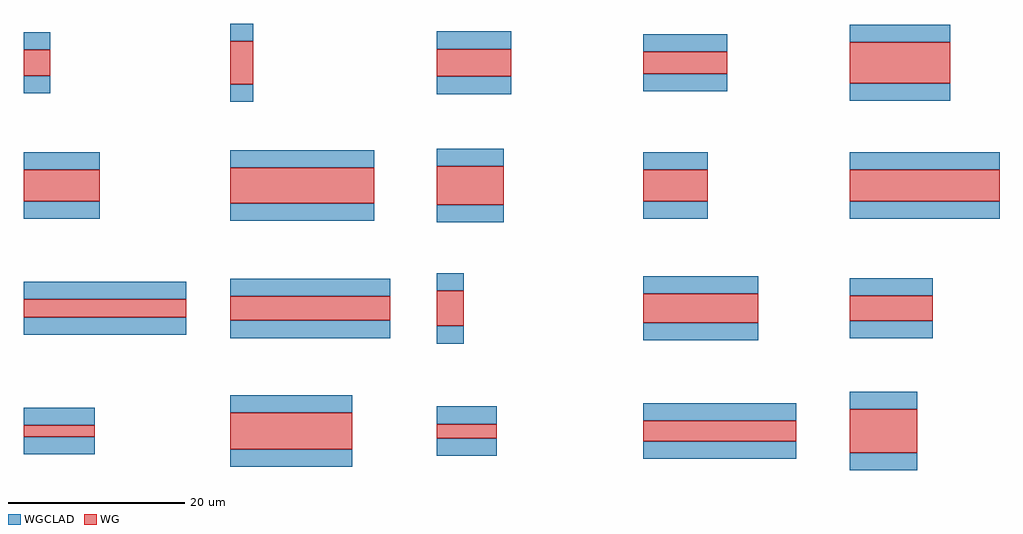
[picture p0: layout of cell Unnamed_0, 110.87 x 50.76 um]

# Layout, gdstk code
import gdstk
lib = gdstk.Library(unit=1e-6, precision=1e-09)
def R(c, l, rs):  # rectangles x0, y0, x1, y1
    for r in rs: c.add(gdstk.rectangle(r[:2], r[2:], *l))
WG = (1, 0)
WGCLAD = (111, 0)

straight_cssym_f7fe636c_ = lib.new_cell('straight_CSsym_f7fe636c_3540_L16989')
R(straight_cssym_f7fe636c_, WG, [(0,-1.77,16.989,1.77)])
R(straight_cssym_f7fe636c_, WGCLAD, [(0,-3.77,16.989,-1.77), (0,1.77,16.989,3.77)])

c_straight_cssym_f7fe636c_ = lib.new_cell('straight_CSsym_f7fe636c_3602_L7344')
R(c_straight_cssym_f7fe636c_, WG, [(0,-1.801,7.344,1.801)])
R(c_straight_cssym_f7fe636c_, WGCLAD, [(0,-3.801,7.344,-1.801), (0,1.801,7.344,3.801)])

c_straight_cssym_f7fe636c__ = lib.new_cell('straight_CSsym_f7fe636c_1302_L8120')
R(c_straight_cssym_f7fe636c__, WG, [(0,-0.651,8.12,0.651)])
R(c_straight_cssym_f7fe636c__, WGCLAD, [(0,-2.651,8.12,-0.651), (0,0.651,8.12,2.651)])

c_straight_cssym_f7fe636c___ = lib.new_cell('straight_CSsym_f7fe636c_4124_L13892')
R(c_straight_cssym_f7fe636c___, WG, [(0,-2.062,13.892,2.062)])
R(c_straight_cssym_f7fe636c___, WGCLAD, [(0,-4.062,13.892,-2.062), (0,2.062,13.892,4.062)])

c_straight_cssym_f7fe636c____ = lib.new_cell('straight_CSsym_f7fe636c_1602_L6846')
R(c_straight_cssym_f7fe636c____, WG, [(0,-0.801,6.846,0.801)])
R(c_straight_cssym_f7fe636c____, WGCLAD, [(0,-2.801,6.846,-0.801), (0,0.801,6.846,2.801)])

c_straight_cssym_f7fe636c_____ = lib.new_cell('straight_CSsym_f7fe636c_2300_L17367')
R(c_straight_cssym_f7fe636c_____, WG, [(0,-1.15,17.367,1.15)])
R(c_straight_cssym_f7fe636c_____, WGCLAD, [(0,-3.15,17.367,-1.15), (0,1.15,17.367,3.15)])

c_straight_cssym_f7fe636c______ = lib.new_cell('straight_CSsym_f7fe636c_4946_L7655')
R(c_straight_cssym_f7fe636c______, WG, [(0,-2.473,7.655,2.473)])
R(c_straight_cssym_f7fe636c______, WGCLAD, [(0,-4.473,7.655,-2.473), (0,2.473,7.655,4.473)])

c_straight_cssym_f7fe636c_______ = lib.new_cell('straight_CSsym_f7fe636c_2060_L18470')
R(c_straight_cssym_f7fe636c_______, WG, [(0,-1.03,18.47,1.03)])
R(c_straight_cssym_f7fe636c_______, WGCLAD, [(0,-3.03,18.47,-1.03), (0,1.03,18.47,3.03)])

c_straight_cssym_f7fe636c________ = lib.new_cell('straight_CSsym_f7fe636c_2958_L3066')
R(c_straight_cssym_f7fe636c________, WG, [(0,-1.479,3.066,1.479)])
R(c_straight_cssym_f7fe636c________, WGCLAD, [(0,-3.479,3.066,-1.479), (0,1.479,3.066,3.479)])

c_straight_cssym_f7fe636c_________ = lib.new_cell('straight_CSsym_f7fe636c_2754_L18202')
R(c_straight_cssym_f7fe636c_________, WG, [(0,-1.377,18.202,1.377)])
R(c_straight_cssym_f7fe636c_________, WGCLAD, [(0,-3.377,18.202,-1.377), (0,1.377,18.202,3.377)])

c_straight_cssym_f7fe636c__________ = lib.new_cell('straight_CSsym_f7fe636c_4904_L2607')
R(c_straight_cssym_f7fe636c__________, WG, [(0,-2.452,2.607,2.452)])
R(c_straight_cssym_f7fe636c__________, WGCLAD, [(0,-4.452,2.607,-2.452), (0,2.452,2.607,4.452)])

c_straight_cssym_f7fe636c___________ = lib.new_cell('straight_CSsym_f7fe636c_4000_L3074')
R(c_straight_cssym_f7fe636c___________, WG, [(0,-2,3.074,2)])
R(c_straight_cssym_f7fe636c___________, WGCLAD, [(0,-4,3.074,-2), (0,2,3.074,4)])

c_straight_cssym_f7fe636c____________ = lib.new_cell('straight_CSsym_f7fe636c_3116_L8469')
R(c_straight_cssym_f7fe636c____________, WG, [(0,-1.558,8.469,1.558)])
R(c_straight_cssym_f7fe636c____________, WGCLAD, [(0,-3.558,8.469,-1.558), (0,1.558,8.469,3.558)])

c_straight_cssym_f7fe636c_____________ = lib.new_cell('straight_CSsym_f7fe636c_3268_L13054')
R(c_straight_cssym_f7fe636c_____________, WG, [(0,-1.634,13.054,1.634)])
R(c_straight_cssym_f7fe636c_____________, WGCLAD, [(0,-3.634,13.054,-1.634), (0,1.634,13.054,3.634)])

c_straight_cssym_f7fe636c______________ = lib.new_cell('straight_CSsym_f7fe636c_2498_L9539')
R(c_straight_cssym_f7fe636c______________, WG, [(0,-1.249,9.539,1.249)])
R(c_straight_cssym_f7fe636c______________, WGCLAD, [(0,-3.249,9.539,-1.249), (0,1.249,9.539,3.249)])

c_straight_cssym_f7fe636c_______________ = lib.new_cell('straight_CSsym_f7fe636c_2814_L9430')
R(c_straight_cssym_f7fe636c_______________, WG, [(0,-1.407,9.43,1.407)])
R(c_straight_cssym_f7fe636c_______________, WGCLAD, [(0,-3.407,9.43,-1.407), (0,1.407,9.43,3.407)])

c_straight_cssym_f7fe636c________________ = lib.new_cell('straight_CSsym_f7fe636c_4644_L11368')
R(c_straight_cssym_f7fe636c________________, WG, [(0,-2.322,11.368,2.322)])
R(c_straight_cssym_f7fe636c________________, WGCLAD, [(0,-4.322,11.368,-2.322), (0,2.322,11.368,4.322)])

c_straight_cssym_f7fe636c_________________ = lib.new_cell('straight_CSsym_f7fe636c_3528_L8637')
R(c_straight_cssym_f7fe636c_________________, WG, [(0,-1.764,8.637,1.764)])
R(c_straight_cssym_f7fe636c_________________, WGCLAD, [(0,-3.764,8.637,-1.764), (0,1.764,8.637,3.764)])

c_straight_cssym_f7fe636c__________________ = lib.new_cell('straight_CSsym_f7fe636c_3986_L16374')
R(c_straight_cssym_f7fe636c__________________, WG, [(0,-1.993,16.374,1.993)])
R(c_straight_cssym_f7fe636c__________________, WGCLAD, [(0,-3.993,16.374,-1.993), (0,1.993,16.374,3.993)])

c_straight_cssym_f7fe636c___________________ = lib.new_cell('straight_CSsym_f7fe636c_4354_L7626')
R(c_straight_cssym_f7fe636c___________________, WG, [(0,-2.177,7.626,2.177)])
R(c_straight_cssym_f7fe636c___________________, WGCLAD, [(0,-4.177,7.626,-2.177), (0,2.177,7.626,4.177)])

unnamed_0 = lib.new_cell('Unnamed_0')
unnamed_0.add(gdstk.Reference(straight_cssym_f7fe636c_, (93.88,34.865)))
unnamed_0.add(gdstk.Reference(c_straight_cssym_f7fe636c_, (70.41,34.865)))
unnamed_0.add(gdstk.Reference(c_straight_cssym_f7fe636c__, (0,6.973)))
unnamed_0.add(gdstk.Reference(c_straight_cssym_f7fe636c___, (23.47,6.973)))
unnamed_0.add(gdstk.Reference(c_straight_cssym_f7fe636c____, (46.94,6.973)))
unnamed_0.add(gdstk.Reference(c_straight_cssym_f7fe636c_____, (70.41,6.973)))
unnamed_0.add(gdstk.Reference(c_straight_cssym_f7fe636c______, (93.88,6.973)))
unnamed_0.add(gdstk.Reference(c_straight_cssym_f7fe636c_______, (0,20.919)))
unnamed_0.add(gdstk.Reference(c_straight_cssym_f7fe636c________, (0,48.811)))
unnamed_0.add(gdstk.Reference(c_straight_cssym_f7fe636c_________, (23.47,20.919)))
unnamed_0.add(gdstk.Reference(c_straight_cssym_f7fe636c__________, (23.47,48.811)))
unnamed_0.add(gdstk.Reference(c_straight_cssym_f7fe636c___________, (46.94,20.919)))
unnamed_0.add(gdstk.Reference(c_straight_cssym_f7fe636c____________, (46.94,48.811)))
unnamed_0.add(gdstk.Reference(c_straight_cssym_f7fe636c_____________, (70.41,20.919)))
unnamed_0.add(gdstk.Reference(c_straight_cssym_f7fe636c______________, (70.41,48.811)))
unnamed_0.add(gdstk.Reference(c_straight_cssym_f7fe636c_______________, (93.88,20.919)))
unnamed_0.add(gdstk.Reference(c_straight_cssym_f7fe636c________________, (93.88,48.811)))
unnamed_0.add(gdstk.Reference(c_straight_cssym_f7fe636c_________________, (0,34.865)))
unnamed_0.add(gdstk.Reference(c_straight_cssym_f7fe636c__________________, (23.47,34.865)))
unnamed_0.add(gdstk.Reference(c_straight_cssym_f7fe636c___________________, (46.94,34.865)))

lib.write_gds('Unnamed_0.gds')
